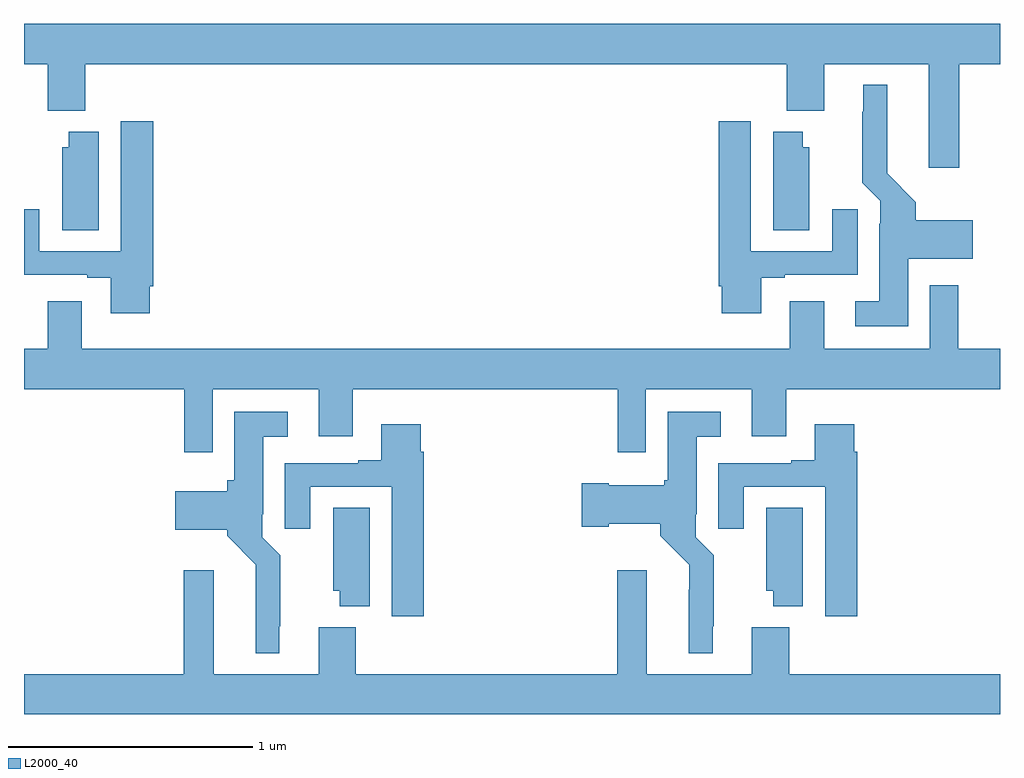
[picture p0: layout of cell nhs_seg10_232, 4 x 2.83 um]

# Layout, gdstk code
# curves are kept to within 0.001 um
import gdstk
lib = gdstk.Library(unit=1e-6, precision=1e-09)
def P(c, l, *ps):  # polygons
    for p in ps: c.add(gdstk.Polygon(p, *l))
L2000_40 = (2000, 40)

nhs_seg10_232 = lib.new_cell('nhs_seg10_232')
P(nhs_seg10_232, L2000_40, [(124.832,1316.3),(125,1316.3),(125,1316.464),(121,1316.464),(121,1316.3),(121.097,1316.3),(121.097,1316.108),(121.25,1316.108),(121.25,1316.3),(124.127,1316.3),(124.127,1316.108),(124.279,1316.108),(124.279,1316.3),(124.709,1316.3),(124.709,1315.875),(124.832,1315.875)],
  [(124.624,1315.502),(124.888,1315.502),(124.888,1315.66),(124.655,1315.66),(124.655,1315.734),(124.537,1315.852),(124.537,1316.215),(124.439,1316.215),(124.439,1316.105),(124.435,1316.105),(124.435,1315.814),(124.509,1315.74),(124.509,1315.646),(124.505,1315.646),(124.505,1315.327),(124.407,1315.327),(124.407,1315.226),(124.624,1315.226)],
  [(121.516,1315.39),(121.529,1315.39),(121.529,1316.065),(121.397,1316.065),(121.397,1315.533),(121.063,1315.533),(121.063,1315.705),(121,1315.705),(121,1315.437),(121.259,1315.437),(121.259,1315.425),(121.355,1315.425),(121.355,1315.278),(121.516,1315.278)],
  [(124.021,1315.425),(124.117,1315.425),(124.117,1315.437),(124.417,1315.437),(124.417,1315.705),(124.313,1315.705),(124.313,1315.533),(123.979,1315.533),(123.979,1316.065),(123.848,1316.065),(123.848,1315.39),(123.86,1315.39),(123.86,1315.278),(124.021,1315.278)],
  [(124.219,1315.959),(124.192,1315.959),(124.192,1316.023),(124.07,1316.023),(124.07,1315.618),(124.219,1315.618)],
  [(121.306,1316.023),(121.184,1316.023),(121.184,1315.959),(121.157,1315.959),(121.157,1315.618),(121.306,1315.618)],
  [(121.773,1314.968),(122.207,1314.968),(122.207,1314.774),(122.347,1314.774),(122.347,1314.968),(123.433,1314.968),(123.433,1314.708),(123.549,1314.708),(123.549,1314.968),(123.983,1314.968),(123.983,1314.774),(124.123,1314.774),(124.123,1314.968),(125,1314.968),(125,1315.132),(124.829,1315.132),(124.829,1315.393),(124.713,1315.393),(124.713,1315.132),(124.279,1315.132),(124.279,1315.327),(124.139,1315.327),(124.139,1315.132),(121.237,1315.132),(121.237,1315.327),(121.097,1315.327),(121.097,1315.132),(121,1315.132),(121,1314.968),(121.657,1314.968),(121.657,1314.708),(121.773,1314.708)],
  [(122.047,1313.995),(122.051,1313.995),(122.051,1314.286),(121.977,1314.36),(121.977,1314.454),(121.981,1314.454),(121.981,1314.773),(122.08,1314.773),(122.08,1314.874),(121.862,1314.874),(121.862,1314.594),(121.832,1314.594),(121.832,1314.55),(121.62,1314.55),(121.62,1314.392),(121.832,1314.392),(121.832,1314.366),(121.95,1314.248),(121.949,1313.885),(122.047,1313.885)],
  [(123.823,1313.995),(123.827,1313.995),(123.827,1314.286),(123.753,1314.36),(123.753,1314.454),(123.757,1314.454),(123.757,1314.773),(123.856,1314.773),(123.856,1314.874),(123.638,1314.874),(123.638,1314.594),(123.624,1314.594),(123.624,1314.574),(123.397,1314.574),(123.397,1314.582),(123.285,1314.582),(123.285,1314.404),(123.397,1314.404),(123.397,1314.416),(123.608,1314.416),(123.608,1314.366),(123.726,1314.248),(123.725,1313.885),(123.823,1313.885)],
  [(124.415,1314.71),(124.402,1314.71),(124.402,1314.823),(124.241,1314.823),(124.241,1314.676),(124.145,1314.676),(124.145,1314.663),(123.845,1314.663),(123.845,1314.396),(123.949,1314.396),(123.949,1314.567),(124.283,1314.567),(124.283,1314.036),(124.415,1314.036)],
  [(122.639,1314.71),(122.626,1314.71),(122.626,1314.823),(122.465,1314.823),(122.465,1314.676),(122.369,1314.676),(122.369,1314.663),(122.069,1314.663),(122.069,1314.396),(122.173,1314.396),(122.173,1314.567),(122.507,1314.567),(122.507,1314.036),(122.639,1314.036)],
  [(122.416,1314.482),(122.267,1314.482),(122.267,1314.141),(122.294,1314.141),(122.294,1314.077),(122.416,1314.077)],
  [(124.192,1314.482),(124.043,1314.482),(124.043,1314.141),(124.07,1314.141),(124.07,1314.077),(124.192,1314.077)],
  [(125,1313.8),(124.136,1313.8),(124.136,1313.992),(123.983,1313.992),(123.983,1313.8),(123.553,1313.8),(123.553,1314.226),(123.431,1314.226),(123.431,1313.8),(122.36,1313.8),(122.36,1313.992),(122.207,1313.992),(122.207,1313.8),(121.777,1313.8),(121.777,1314.226),(121.655,1314.226),(121.655,1313.8),(121,1313.8),(121,1313.636),(125,1313.636)])

lib.write_gds('nhs_seg10_232.gds')
